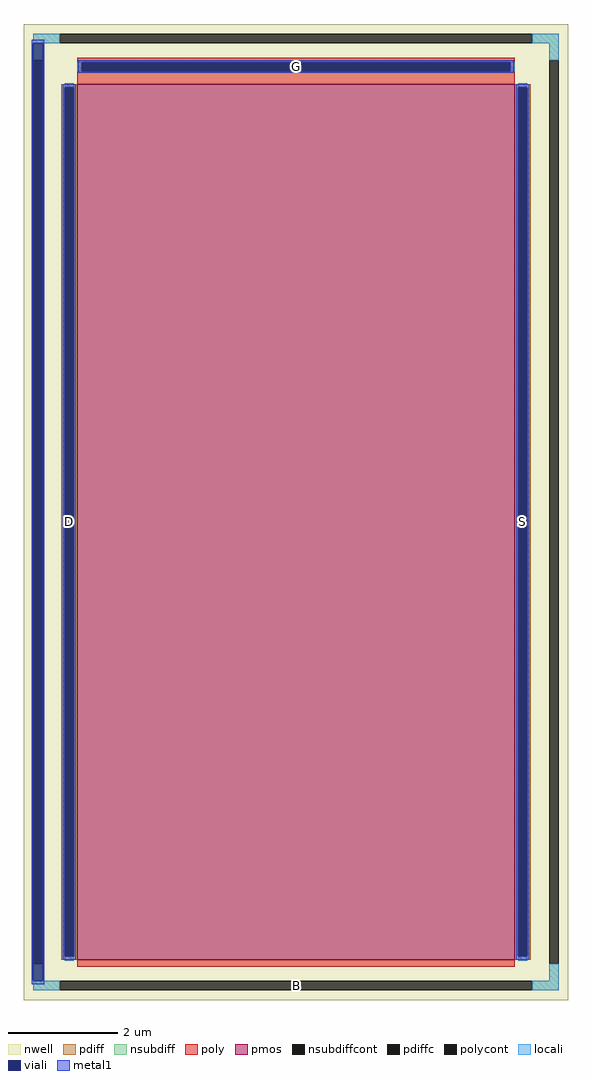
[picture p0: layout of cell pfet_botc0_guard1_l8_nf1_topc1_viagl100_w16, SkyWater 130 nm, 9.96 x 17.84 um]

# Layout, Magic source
magic
tech sky130A
magscale 1 2
<< nwell >>
rect -996 -1784 996 1784
<< pmos >>
rect -800 -1636 800 1564
<< pdiff >>
rect -858 1552 -800 1564
rect -858 -1624 -846 1552
rect -812 -1624 -800 1552
rect -858 -1636 -800 -1624
rect 800 1552 858 1564
rect 800 -1624 812 1552
rect 846 -1624 858 1552
rect 800 -1636 858 -1624
<< pdiffc >>
rect -846 -1624 -812 1552
rect 812 -1624 846 1552
<< nsubdiff >>
rect -960 1714 -864 1748
rect 864 1714 960 1748
rect -960 1651 -926 1714
rect 926 1651 960 1714
rect -960 -1714 -926 -1651
rect 926 -1714 960 -1651
rect -960 -1748 -864 -1714
rect 864 -1748 960 -1714
<< nsubdiffcont >>
rect -864 1714 864 1748
rect -960 -1651 -926 1651
rect 926 -1651 960 1651
rect -864 -1748 864 -1714
<< poly >>
rect -800 1645 800 1661
rect -800 1611 -784 1645
rect 784 1611 800 1645
rect -800 1564 800 1611
rect -800 -1662 800 -1636
<< polycont >>
rect -784 1611 784 1645
<< locali >>
rect -960 1714 -864 1748
rect 864 1714 960 1748
rect 926 1651 960 1714
rect -800 1611 -784 1645
rect 784 1611 800 1645
rect -846 1552 -812 1568
rect -846 -1640 -812 -1624
rect 812 1552 846 1568
rect 812 -1640 846 -1624
rect 926 -1714 960 -1651
rect -960 -1748 -864 -1714
rect 864 -1748 960 -1714
<< viali >>
rect -960 1651 -926 1714
rect -960 -1651 -926 1651
rect -784 1611 784 1645
rect -846 -1624 -812 1552
rect 812 -1624 846 1552
rect -960 -1714 -926 -1651
<< metal1 >>
rect -966 1714 -920 1726
rect -966 -1714 -960 1714
rect -926 -1714 -920 1714
rect -796 1645 796 1651
rect -796 1611 -784 1645
rect 784 1611 796 1645
rect -796 1605 796 1611
rect -852 1552 -806 1564
rect -852 -1624 -846 1552
rect -812 -1624 -806 1552
rect -852 -1636 -806 -1624
rect 806 1552 852 1564
rect 806 -1624 812 1552
rect 846 -1624 852 1552
rect 806 -1636 852 -1624
rect -966 -1726 -920 -1714
<< labels >>
rlabel nsubdiffcont 0 -1731 0 -1731 0 B
port 1 nsew
rlabel pdiffc -829 -36 -829 -36 0 D
port 2 nsew
rlabel pdiffc 829 -36 829 -36 0 S
port 3 nsew
rlabel polycont 0 1628 0 1628 0 G
port 4 nsew
<< properties >>
string FIXED_BBOX -943 -1731 943 1731
string gencell sky130_fd_pr__pfet_01v8
string library sky130
string parameters w 16 l 8 m 1 nf 1 diffcov 100 polycov 100 guard 1 glc 1 grc 1 gtc 1 gbc 1 tbcov 100 rlcov 100 topc 1 botc 0 poverlap 0 doverlap 1 lmin 0.15 wmin 0.42 class mosfet compatible {sky130_fd_pr__pfet_01v8  sky130_fd_pr__pfet_01v8_lvt sky130_fd_pr__pfet_01v8_hvt  sky130_fd_pr__pfet_g5v0d10v5} full_metal 1 conn_gates 0 viasrc 100 viadrn 100 viagate 100 viagb 0 viagr 0 viagl 100 viagt 0 doports 1
<< end >>
